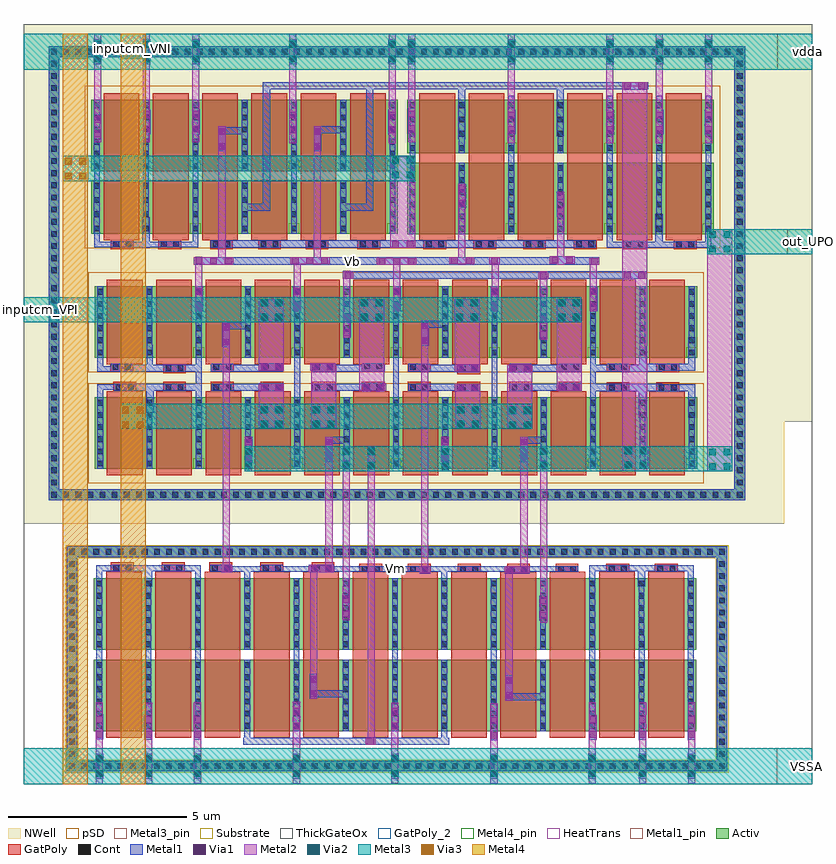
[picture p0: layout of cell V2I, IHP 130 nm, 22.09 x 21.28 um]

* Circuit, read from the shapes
.subckt V2I VSSA Vb Vm imax_VPI inputcm_VNI inputcm_VPI out_UPO vdda
XM1 VSSA VSSA VSSA VSSA sg13_hv_nmos w=2u l=1u m=8
XM2 out_UPO Vm VSSA VSSA sg13_hv_nmos w=2u l=1u m=8
XM3 Vm Vm VSSA VSSA sg13_hv_nmos w=2u l=1u m=8
XM4 vdda vdda vdda vdda sg13_hv_pmos w=1.5u l=1u m=4
XM5 vdda vdda vdda vdda sg13_hv_pmos w=2u l=1u m=4
XM6 Vb Vb Vb vdda sg13_hv_pmos w=2u l=1u m=8
XM7 out_UPO imax_VPI vdda vdda sg13_hv_pmos w=1.5u l=1u m=8
XM8 Vb imax_VPI vdda vdda sg13_hv_pmos w=2u l=1u m=8
XM9 out_UPO inputcm_VNI Vb vdda sg13_hv_pmos w=2u l=1u m=8
XM10 Vm inputcm_VPI Vb vdda sg13_hv_pmos w=2u l=1u m=8
.ends

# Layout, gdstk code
from math import pi, radians
import gdstk
lib = gdstk.Library(unit=1e-6, precision=1e-09)
def R(c, l, rs):  # rectangles x0, y0, x1, y1
    for r in rs: c.add(gdstk.rectangle(r[:2], r[2:], *l))
def A(c, l, x, y, w, h, nx, ny, dx, dy):  # array of equal rectangles
    R(c, l, [(x+i*dx, y+j*dy, x+i*dx+w, y+j*dy+h) for i in range(nx) for j in range(ny)])
def P(c, l, *ps):  # polygons
    for p in ps: c.add(gdstk.Polygon(p, *l))
Activ = (1, 0)
GatPoly = (5, 0)
GatPoly_2 = (5, 2)
Cont = (6, 0)
Metal1 = (8, 0)
Metal1_pin = (8, 2)
Metal2 = (10, 0)
pSD = (14, 0)
Via1 = (19, 0)
Via2 = (29, 0)
Metal3 = (30, 0)
Metal3_pin = (30, 2)
NWell = (31, 0)
Substrate = (40, 0)
ThickGateOx = (44, 0)
Via3 = (49, 0)
Metal4 = (50, 0)
Metal4_pin = (50, 2)
HeatTrans = (51, 0)

pmoshv_10 = lib.new_cell('pmosHV$10')
A(pmoshv_10, Activ, 0, 0, 0.3, 0.3, 3, 1, 1.38, 0)
R(pmoshv_10, Activ, [(0,0,3.06,2)])
R(pmoshv_10, GatPoly, [(0.34,-0.18,1.34,2.18), (1.72,-0.18,2.72,2.18)])
R(pmoshv_10, GatPoly_2, [(0.34,-0.18,1.34,2.18)])
A(pmoshv_10, Cont, 0.07, 0.07, 0.16, 0.16, 3, 6, 1.38, 0.34)
A(pmoshv_10, Metal1, 0.07, 0, 0.16, 2, 3, 1, 1.38, 0)
R(pmoshv_10, Metal1_pin, [(0.07,0,0.23,2), (1.45,0,1.61,2)])
R(pmoshv_10, pSD, [(-0.18,-0.4,3.24,2.4)])
R(pmoshv_10, NWell, [(-0.62,-0.62,3.68,2.62)])
R(pmoshv_10, Substrate, [(2.76,0,3.06,0.3)])
R(pmoshv_10, ThickGateOx, [(-0.62,-0.62,3.68,2.62)])
R(pmoshv_10, HeatTrans, [(0.34,-0.18,1.34,2.18), (1.72,-0.18,2.72,2.18)])
pmoshv_10.add(gdstk.Label('pmosHV', (0.84,1), layer=63, texttype=0))
pmoshv_10.add(gdstk.Label('pmos', (0.84,1), layer=51, texttype=0))
pmoshv_10.add(gdstk.Label('pmos', (2.22,1), layer=51, texttype=0))

pmoshv_11 = lib.new_cell('pmosHV$11')
A(pmoshv_11, Activ, 0, 0, 0.3, 0.3, 3, 1, 1.38, 0)
R(pmoshv_11, Activ, [(0,0,3.06,1.5)])
R(pmoshv_11, GatPoly, [(0.34,-0.18,1.34,1.68), (1.72,-0.18,2.72,1.68)])
R(pmoshv_11, GatPoly_2, [(0.34,-0.18,1.34,1.68)])
A(pmoshv_11, Cont, 0.07, 0.07, 0.16, 0.16, 3, 4, 1.38, 0.4)
A(pmoshv_11, Metal1, 0.07, 0, 0.16, 1.5, 3, 1, 1.38, 0)
R(pmoshv_11, Metal1_pin, [(0.07,0,0.23,1.5), (1.45,0,1.61,1.5)])
R(pmoshv_11, pSD, [(-0.18,-0.4,3.24,1.9)])
R(pmoshv_11, NWell, [(-0.62,-0.62,3.68,2.12)])
R(pmoshv_11, Substrate, [(2.76,0,3.06,0.3)])
R(pmoshv_11, ThickGateOx, [(-0.62,-0.62,3.68,2.12)])
R(pmoshv_11, HeatTrans, [(0.34,-0.18,1.34,1.68), (1.72,-0.18,2.72,1.68)])
pmoshv_11.add(gdstk.Label('pmosHV', (0.84,0.75), layer=63, texttype=0))
pmoshv_11.add(gdstk.Label('pmos', (0.84,0.75), layer=51, texttype=0))
pmoshv_11.add(gdstk.Label('pmos', (2.22,0.75), layer=51, texttype=0))

nmoshv_17 = lib.new_cell('nmosHV$17')
A(nmoshv_17, Activ, 0, 0, 0.3, 0.3, 3, 1, 1.38, 0)
R(nmoshv_17, Activ, [(0,0,3.06,2)])
R(nmoshv_17, GatPoly, [(0.34,-0.18,1.34,2.18), (1.72,-0.18,2.72,2.18)])
R(nmoshv_17, GatPoly_2, [(0.34,-0.18,1.34,2.18)])
A(nmoshv_17, Cont, 0.07, 0.07, 0.16, 0.16, 3, 6, 1.38, 0.34)
A(nmoshv_17, Metal1, 0.07, 0, 0.16, 2, 3, 1, 1.38, 0)
R(nmoshv_17, Metal1_pin, [(0.07,0,0.23,2), (1.45,0,1.61,2)])
R(nmoshv_17, ThickGateOx, [(-0.27,-0.52,3.33,2.52)])
R(nmoshv_17, HeatTrans, [(0.34,-0.18,1.34,2.18), (1.72,-0.18,2.72,2.18)])
nmoshv_17.add(gdstk.Label('nmosHV', (0.84,1), layer=63, texttype=0))
nmoshv_17.add(gdstk.Label('nmosHV', (0.84,1), layer=51, texttype=0))
nmoshv_17.add(gdstk.Label('nmosHV', (2.22,1), layer=51, texttype=0))

via_9 = lib.new_cell('Via$9')
R(via_9, Metal1, [(-0.35,-0.105,0.35,0.105)])
R(via_9, Metal2, [(-0.35,-0.1,0.35,0.1)])
R(via_9, Via1, [(-0.3,-0.095,-0.11,0.095), (0.11,-0.095,0.3,0.095)])

via_8 = lib.new_cell('Via$8')
R(via_8, Metal2, [(-0.35,-0.305,0.35,0.305)])
R(via_8, Via2, [(-0.3,-0.3,-0.11,-0.11), (0.11,-0.3,0.3,-0.11), (-0.3,0.11,-0.11,0.3), (0.11,0.11,0.3,0.3)])
R(via_8, Metal3, [(-0.35,-0.305,0.35,0.305)])

via_11 = lib.new_cell('Via$11')
R(via_11, Metal1, [(-0.555,-0.105,0.555,0.105)])
R(via_11, Metal2, [(-0.555,-0.1,0.555,0.1)])
A(via_11, Via1, -0.505, -0.095, 0.19, 0.19, 3, 1, 0.41, 0)

guard_ring_2 = lib.new_cell('guard_ring$2')
R(guard_ring_2, Activ, [(-9.75,-6.05,-9.45,6.05), (9.45,-6.05,9.75,6.05), (-9.75,6.05,9.75,6.35)])
P(guard_ring_2, Activ, [(-9.75,-6.35),(-9.75,6.05),(-9.45,6.05),(-9.45,-6.05),(9.45,-6.05),(9.45,6.05),(-9.75,6.05),(-9.75,6.35),(9.75,6.35),(9.75,-6.35)])
A(guard_ring_2, Cont, -9.68, -6.28, 0.16, 0.16, 28, 2, 0.34, 12.4)
A(guard_ring_2, Cont, 0, -6.28, 0.16, 0.16, 29, 2, 0.34, 12.4)
A(guard_ring_2, Cont, -9.68, -5.94, 0.16, 0.16, 1, 17, 0, 0.34)
A(guard_ring_2, Cont, 9.52, -5.94, 0.16, 0.16, 1, 17, 0, 0.34)
A(guard_ring_2, Cont, -9.68, 0, 0.16, 0.16, 1, 18, 0, 0.34)
A(guard_ring_2, Cont, 9.52, 0, 0.16, 0.16, 1, 18, 0, 0.34)
R(guard_ring_2, Metal1, [(-9.75,-6.35,9.75,-6.05), (-9.75,-6.05,-9.45,6.05), (9.45,-6.05,9.75,6.05), (-9.75,6.05,9.75,6.35)])
R(guard_ring_2, NWell, [(-10.1,-6.7,10.1,6.7)])

guard_ring = lib.new_cell('guard_ring')
R(guard_ring, Activ, [(-9.25,-2.85,-8.95,2.85), (8.95,-2.85,9.25,2.85), (-9.25,2.85,9.25,3.15)])
P(guard_ring, Activ, [(-9.25,-3.15),(-9.25,2.85),(-8.95,2.85),(-8.95,-2.85),(8.95,-2.85),(8.95,2.85),(-9.25,2.85),(-9.25,3.15),(9.25,3.15),(9.25,-3.15)])
A(guard_ring, Cont, -9.18, -3.08, 0.16, 0.16, 27, 2, 0.34, 6)
A(guard_ring, Cont, 0.18, -3.08, 0.16, 0.16, 27, 2, 0.34, 6)
A(guard_ring, Cont, -9.18, -2.74, 0.16, 0.16, 1, 8, 0, 0.34)
A(guard_ring, Cont, 9.02, -2.74, 0.16, 0.16, 1, 8, 0, 0.34)
A(guard_ring, Cont, -9.18, 0.2, 0.16, 0.16, 1, 8, 0, 0.34)
A(guard_ring, Cont, 9.02, 0.2, 0.16, 0.16, 1, 8, 0, 0.34)
R(guard_ring, Metal1, [(-9.25,-3.15,9.25,-2.85), (-9.25,-2.85,-8.95,2.85), (8.95,-2.85,9.25,2.85), (-9.25,2.85,9.25,3.15)])
R(guard_ring, pSD, [(-9.28,-2.82,-8.92,2.82), (8.92,-2.82,9.28,2.82), (-9.28,2.82,9.28,3.18)])
P(guard_ring, pSD, [(-9.28,-3.18),(-9.28,2.82),(-8.92,2.82),(-8.92,-2.82),(8.92,-2.82),(8.92,2.82),(-9.28,2.82),(-9.28,3.18),(9.28,3.18),(9.28,-3.18)])
R(guard_ring, Substrate, [(-9.28,-2.82,-8.92,2.82), (8.92,-2.82,9.28,2.82), (-9.28,2.82,9.28,3.18)])
P(guard_ring, Substrate, [(-9.28,-3.18),(-9.28,2.82),(-8.92,2.82),(-8.92,-2.82),(8.92,-2.82),(8.92,2.82),(-9.28,2.82),(-9.28,3.18),(9.28,3.18),(9.28,-3.18)])

via_2 = lib.new_cell('Via$2')
R(via_2, Metal1, [(-0.105,-0.35,0.105,0.35)])
R(via_2, Metal2, [(-0.1,-0.35,0.1,0.35)])
R(via_2, Via1, [(-0.095,-0.3,0.095,-0.11), (-0.095,0.11,0.095,0.3)])

via_10 = lib.new_cell('Via$10')
R(via_10, Metal2, [(-0.1,-0.35,0.1,0.35)])
R(via_10, Via2, [(-0.095,-0.3,0.095,-0.11), (-0.095,0.11,0.095,0.3)])
R(via_10, Metal3, [(-0.1,-0.35,0.1,0.35)])

via_4 = lib.new_cell('Via$4')
R(via_4, GatPoly, [(-0.15,-0.32,0.15,0.32)])
R(via_4, Cont, [(-0.08,-0.25,0.08,-0.09), (-0.08,0.09,0.08,0.25)])
R(via_4, Metal1, [(-0.08,-0.3,0.08,0.3)])

via = lib.new_cell('Via')
R(via, Metal1, [(-0.145,-0.105,0.145,0.105)])
R(via, Metal2, [(-0.145,-0.1,0.145,0.1)])
R(via, Via1, [(-0.095,-0.095,0.095,0.095)])

via_12 = lib.new_cell('Via$12')
R(via_12, Metal3, [(-0.35,-0.305,0.35,0.305)])
R(via_12, Via3, [(-0.3,-0.3,-0.11,-0.11), (0.11,-0.3,0.3,-0.11), (-0.3,0.11,-0.11,0.3), (0.11,0.11,0.3,0.3)])
R(via_12, Metal4, [(-0.35,-0.305,0.35,0.305)])

v2i = lib.new_cell('V2I')
R(v2i, Metal1, [(12.955,14.04,13.515,14.24)])
R(v2i, Metal2, [(13.105,13.045,13.305,14.25), (10.35,13.055,10.55,14.235)])
R(v2i, Metal3_pin, [(21.09,-0.5,22.085,0.5), (0,12.42,0.74,13.12), (21.385,14.33,22.085,15.03), (21.105,19.5,22.085,20.5)])
R(v2i, NWell, [(0,6.78,21.3,20.775), (21.3,9.635,22.085,20.775)])
R(v2i, ThickGateOx, [(0,-0.5,22.085,20.775)])
R(v2i, Metal4_pin, [(1.1,19.8,1.8,20.5), (2.715,19.8,3.415,20.5)])
v2i.add(gdstk.FlexPath([(8.94,13.745),(17.455,13.745)], 0.2, ends="flush", simple_path=True, layer=8, datatype=0))  # Metal1
v2i.add(gdstk.FlexPath([(8.95,13.75),(16.945,13.75)], 0.2, ends="flush", simple_path=True, layer=8, datatype=0))  # Metal1
v2i.add(gdstk.FlexPath([(14.955,19.05),(17.485,19.05)], 0.2, ends="flush", simple_path=True, layer=8, datatype=0))  # Metal1
v2i.add(gdstk.FlexPath([(4.815,14.14),(16.09,14.14)], 0.2, ends="flush", simple_path=True, layer=8, datatype=0))  # Metal1
v2i.add(gdstk.FlexPath([(8.025,2.025),(9.1,2.025)], 0.2, ends="flush", simple_path=True, layer=8, datatype=0))  # Metal1
v2i.add(gdstk.FlexPath([(7.57,18.21),(7.57,15.77)], 0.16, ends="flush", simple_path=True, layer=8, datatype=0))  # Metal1
v2i.add(gdstk.FlexPath([(4.815,15.455),(4.815,14.605),(2.055,14.605),(2.055,15.435)], 0.16, ends="flush", simple_path=True, layer=8, datatype=0))  # Metal1
v2i.add(gdstk.FlexPath([(19.17,15.435),(19.17,14.595),(16.41,14.595),(16.41,15.436)], 0.16, ends="flush", simple_path=True, layer=8, datatype=0))  # Metal1
v2i.add(gdstk.FlexPath([(4.815,18.21),(4.815,15.77),(4.815,15.77)], 0.16, ends="flush", simple_path=True, layer=8, datatype=0))  # Metal1
v2i.add(gdstk.FlexPath([(5.24,14.615),(16.02,14.615)], 0.2, ends="flush", simple_path=True, layer=8, datatype=0))  # Metal1
v2i.add(gdstk.FlexPath([(6.11,15.65),(6.8,15.65),(6.8,19.05),(13.35,19.05)], 0.2, ends="flush", simple_path=True, layer=8, datatype=0))  # Metal1
v2i.add(gdstk.FlexPath([(12.27,17.55),(12.27,19.05),(15.025,19.05),(15.025,17.63)], 0.2, ends="flush", simple_path=True, layer=8, datatype=0))  # Metal1
v2i.add(gdstk.FlexPath([(10.33,18.21),(10.33,15.77)], 0.16, ends="flush", simple_path=True, layer=8, datatype=0))  # Metal1
v2i.add(gdstk.FlexPath([(10.885,18.655),(10.885,16.215)], 0.16, ends="flush", simple_path=True, layer=8, datatype=0))  # Metal1
v2i.add(gdstk.FlexPath([(13.65,18.77),(13.65,16.33)], 0.16, ends="flush", simple_path=True, layer=8, datatype=0))  # Metal1
v2i.add(gdstk.FlexPath([(16.41,18.77),(16.41,16.33)], 0.16, ends="flush", simple_path=True, layer=8, datatype=0))  # Metal1
v2i.add(gdstk.FlexPath([(8.12,17.81),(9.03,17.81),(9.03,17.81),(9.03,17.81)], 0.2, ends="flush", simple_path=True, layer=8, datatype=0))  # Metal1
v2i.add(gdstk.FlexPath([(5.445,17.785),(6.27,17.785)], 0.2, ends="flush", simple_path=True, layer=8, datatype=0))  # Metal1
v2i.add(gdstk.FlexPath([(8.87,15.65),(9.695,15.65),(9.695,19.045)], 0.2, ends="flush", simple_path=True, layer=8, datatype=0))  # Metal1
v2i.add(gdstk.FlexPath([(3.425,18.21),(3.425,15.77),(3.425,15.77)], 0.16, ends="flush", simple_path=True, layer=8, datatype=0))  # Metal1
v2i.add(gdstk.FlexPath([(2.06,18.21),(2.06,15.77),(2.06,15.77)], 0.16, ends="flush", simple_path=True, layer=8, datatype=0))  # Metal1
v2i.add(gdstk.FlexPath([(17.795,18.77),(17.795,16.33)], 0.16, ends="flush", simple_path=True, layer=8, datatype=0))  # Metal1
v2i.add(gdstk.FlexPath([(19.175,18.77),(19.175,16.33)], 0.16, ends="flush", simple_path=True, layer=8, datatype=0))  # Metal1
v2i.add(gdstk.FlexPath([(3.43,15.37),(3.43,14.515)], 0.2, ends="flush", simple_path=True, layer=8, datatype=0))  # Metal1
v2i.add(gdstk.FlexPath([(17.79,15.465),(17.79,14.515)], 0.2, ends="flush", simple_path=True, layer=8, datatype=0))  # Metal1
v2i.add(gdstk.FlexPath([(2.12,4.7),(2.12,5.54),(4.88,5.54),(4.88,4.699)], 0.16, ends="flush", simple_path=True, layer=8, datatype=0))  # Metal1
v2i.add(gdstk.FlexPath([(15.92,4.7),(15.92,5.54),(18.68,5.54),(18.68,4.699)], 0.16, ends="flush", simple_path=True, layer=8, datatype=0))  # Metal1
v2i.add(gdstk.FlexPath([(4.88,3.61),(4.88,2.42)], 0.16, ends="extended", simple_path=True, layer=8, datatype=0))  # Metal1
v2i.add(gdstk.FlexPath([(3.5,3.61),(3.5,2.42)], 0.16, ends="extended", simple_path=True, layer=8, datatype=0))  # Metal1
v2i.add(gdstk.FlexPath([(2.12,3.61),(2.12,2.42)], 0.16, ends="extended", simple_path=True, layer=8, datatype=0))  # Metal1
v2i.add(gdstk.FlexPath([(3.5,5.03),(3.5,5.62)], 0.2, ends="flush", simple_path=True, layer=8, datatype=0))  # Metal1
v2i.add(gdstk.FlexPath([(15.92,3.73),(15.92,2.54)], 0.16, ends="flush", simple_path=True, layer=8, datatype=0))  # Metal1
v2i.add(gdstk.FlexPath([(17.305,3.635),(17.305,2.445)], 0.16, ends="flush", simple_path=True, layer=8, datatype=0))  # Metal1
v2i.add(gdstk.FlexPath([(18.68,3.675),(18.68,2.485)], 0.16, ends="flush", simple_path=True, layer=8, datatype=0))  # Metal1
v2i.add(gdstk.FlexPath([(17.3,5.03),(17.3,5.62)], 0.2, ends="flush", simple_path=True, layer=8, datatype=0))  # Metal1
v2i.add(gdstk.FlexPath([(11.78,1.42),(11.78,0.625)], 0.16, ends="flush", simple_path=True, layer=8, datatype=0))  # Metal1
v2i.add(gdstk.FlexPath([(13.585,1.94),(14.62,1.94)], 0.2, ends="flush", simple_path=True, layer=8, datatype=0))  # Metal1
v2i.add(gdstk.FlexPath([(7.64,3.685),(7.64,2.495)], 0.16, ends="flush", simple_path=True, layer=8, datatype=0))  # Metal1
v2i.add(gdstk.FlexPath([(10.4,3.685),(10.4,2.495)], 0.16, ends="flush", simple_path=True, layer=8, datatype=0))  # Metal1
v2i.add(gdstk.FlexPath([(6.26,4.995),(6.26,5.6)], 0.16, ends="flush", simple_path=True, layer=8, datatype=0))  # Metal1
v2i.add(gdstk.FlexPath([(11.78,4.655),(11.78,5.6)], 0.16, ends="flush", simple_path=True, layer=8, datatype=0))  # Metal1
v2i.add(gdstk.FlexPath([(5.225,5.52),(5.735,5.52),(15.535,5.52)], 0.16, ends="flush", simple_path=True, layer=8, datatype=0))  # Metal1
v2i.add(gdstk.FlexPath([(6.155,0.7),(11.92,0.7)], 0.2, ends="flush", simple_path=True, layer=8, datatype=0))  # Metal1
v2i.add(gdstk.FlexPath([(13.16,3.26),(13.16,2.07)], 0.16, ends="flush", simple_path=True, layer=8, datatype=0))  # Metal1
v2i.add(gdstk.FlexPath([(2.145,11.79),(2.145,11.12),(3.535,11.12),(3.535,11.79)], 0.16, ends="flush", simple_path=True, layer=8, datatype=0))  # Metal1
v2i.add(gdstk.FlexPath([(2.145,10.09),(2.145,10.61),(2.745,10.61)], 0.16, ends="flush", simple_path=True, layer=8, datatype=0))  # Metal1
v2i.add(gdstk.FlexPath([(3.54,9.895),(3.54,10.705)], 0.2, ends="flush", simple_path=True, layer=8, datatype=0))  # Metal1
v2i.add(gdstk.FlexPath([(5.245,11.14),(7.255,11.14)], 0.2, ends="flush", simple_path=True, layer=8, datatype=0))  # Metal1
v2i.add(gdstk.FlexPath([(8.1,11.14),(10.11,11.14)], 0.2, ends="flush", simple_path=True, layer=8, datatype=0))  # Metal1
v2i.add(gdstk.FlexPath([(10.775,11.14),(12.765,11.14)], 0.2, ends="flush", simple_path=True, layer=8, datatype=0))  # Metal1
v2i.add(gdstk.FlexPath([(13.61,11.14),(15.62,11.14)], 0.2, ends="flush", simple_path=True, layer=8, datatype=0))  # Metal1
v2i.add(gdstk.FlexPath([(5.59,12.33),(6.365,12.33)], 0.2, ends="flush", simple_path=True, layer=8, datatype=0))  # Metal1
v2i.add(gdstk.FlexPath([(11.14,12.37),(11.885,12.37)], 0.2, ends="flush", simple_path=True, layer=8, datatype=0))  # Metal1
v2i.add(gdstk.FlexPath([(13.61,10.605),(15.62,10.605)], 0.2, ends="flush", simple_path=True, layer=8, datatype=0))  # Metal1
v2i.add(gdstk.FlexPath([(10.775,10.605),(12.785,10.605)], 0.2, ends="flush", simple_path=True, layer=8, datatype=0))  # Metal1
v2i.add(gdstk.FlexPath([(8.1,10.605),(10.11,10.605)], 0.2, ends="flush", simple_path=True, layer=8, datatype=0))  # Metal1
v2i.add(gdstk.FlexPath([(5.265,10.605),(7.275,10.605)], 0.2, ends="flush", simple_path=True, layer=8, datatype=0))  # Metal1
v2i.add(gdstk.FlexPath([(8.455,9.12),(9.125,9.12)], 0.2, ends="flush", simple_path=True, layer=8, datatype=0))  # Metal1
v2i.add(gdstk.FlexPath([(13.915,9.12),(14.645,9.12)], 0.2, ends="flush", simple_path=True, layer=8, datatype=0))  # Metal1
v2i.add(gdstk.FlexPath([(4.905,12.31),(4.905,9.57)], 0.16, ends="flush", simple_path=True, layer=8, datatype=0))  # Metal1
v2i.add(gdstk.FlexPath([(7.665,12.31),(7.665,9.57)], 0.16, ends="flush", simple_path=True, layer=8, datatype=0))  # Metal1
v2i.add(gdstk.FlexPath([(10.425,12.31),(10.425,9.57)], 0.16, ends="flush", simple_path=True, layer=8, datatype=0))  # Metal1
v2i.add(gdstk.FlexPath([(13.185,12.31),(13.185,9.575)], 0.16, ends="flush", simple_path=True, layer=8, datatype=0))  # Metal1
v2i.add(gdstk.FlexPath([(15.945,12.31),(15.945,9.57)], 0.16, ends="flush", simple_path=True, layer=8, datatype=0))  # Metal1
v2i.add(gdstk.FlexPath([(2.535,10.605),(4.545,10.605)], 0.2, ends="flush", simple_path=True, layer=8, datatype=0))  # Metal1
v2i.add(gdstk.FlexPath([(2.98,11.14),(4.99,11.14)], 0.2, ends="flush", simple_path=True, layer=8, datatype=0))  # Metal1
v2i.add(gdstk.FlexPath([(15.86,11.14),(17.87,11.14)], 0.2, ends="flush", simple_path=True, layer=8, datatype=0))  # Metal1
v2i.add(gdstk.FlexPath([(15.865,10.6),(17.875,10.6)], 0.2, ends="flush", simple_path=True, layer=8, datatype=0))  # Metal1
v2i.add(gdstk.FlexPath([(18.705,9.75),(18.705,10.595),(17.325,10.595),(17.325,9.75),(17.325,9.75)], 0.2, ends="flush", simple_path=True, layer=8, datatype=0))  # Metal1
v2i.add(gdstk.FlexPath([(18.705,12),(18.705,11.17),(17.335,11.17),(17.335,11.755)], 0.2, ends="flush", simple_path=True, layer=8, datatype=0))  # Metal1
v2i.add(gdstk.FlexPath([(4.395,10.605),(4.985,10.605)], 0.2, ends="flush", simple_path=True, layer=8, datatype=0))  # Metal1
v2i.add(gdstk.FlexPath([(6.26,2.07),(6.26,0.6)], 0.16, ends="flush", simple_path=True, layer=8, datatype=0))  # Metal1
v2i.add(gdstk.FlexPath([(2.12,1.785),(2.12,-0.5)], 0.2, ends="flush", simple_path=True, layer=10, datatype=0))  # Metal2
v2i.add(gdstk.FlexPath([(8.225,14.05),(8.225,17.815)], 0.2, ends="flush", simple_path=True, layer=10, datatype=0))  # Metal2
v2i.add(gdstk.FlexPath([(17.105,19.15),(17.105,8.26)], 0.7, ends="flush", simple_path=True, layer=10, datatype=0))  # Metal2
v2i.add(gdstk.FlexPath([(13.895,11.235),(13.895,9.45),(13.895,9.45)], 0.7, ends="flush", simple_path=True, layer=10, datatype=0))  # Metal2
v2i.add(gdstk.FlexPath([(9.745,10.495),(9.745,12.92)], 0.7, ends="flush", simple_path=True, layer=10, datatype=0))  # Metal2
v2i.add(gdstk.FlexPath([(3.5,1.78),(3.5,-0.495)], 0.2, ends="flush", simple_path=True, layer=10, datatype=0))  # Metal2
v2i.add(gdstk.FlexPath([(9.03,8.91),(9.03,4.09)], 0.2, ends="flush", simple_path=True, layer=10, datatype=0))  # Metal2
v2i.add(gdstk.FlexPath([(10.62,14.545),(10.62,16.97)], 0.7, ends="flush", simple_path=True, layer=10, datatype=0))  # Metal2
v2i.add(gdstk.FlexPath([(9.05,12.165),(9.05,13.87)], 0.2, ends="flush", simple_path=True, layer=10, datatype=0))  # Metal2
v2i.add(gdstk.FlexPath([(6.94,11.07),(6.94,12.935)], 0.7, ends="flush", simple_path=True, layer=10, datatype=0))  # Metal2
v2i.add(gdstk.FlexPath([(12.42,11.07),(12.42,12.935)], 0.7, ends="flush", simple_path=True, layer=10, datatype=0))  # Metal2
v2i.add(gdstk.FlexPath([(15.27,10.515),(15.27,12.94)], 0.7, ends="flush", simple_path=True, layer=10, datatype=0))  # Metal2
v2i.add(gdstk.FlexPath([(6.94,10.71),(6.94,9.65)], 0.7, ends="flush", simple_path=True, layer=10, datatype=0))  # Metal2
v2i.add(gdstk.FlexPath([(12.44,10.71),(12.44,9.65)], 0.7, ends="flush", simple_path=True, layer=10, datatype=0))  # Metal2
v2i.add(gdstk.FlexPath([(8.4,11.26),(8.4,9.63)], 0.7, ends="flush", simple_path=True, layer=10, datatype=0))  # Metal2
v2i.add(gdstk.FlexPath([(5.555,14.04),(5.555,17.835)], 0.2, ends="flush", simple_path=True, layer=10, datatype=0))  # Metal2
v2i.add(gdstk.FlexPath([(4.87,1.79),(4.87,-0.495)], 0.2, ends="flush", simple_path=True, layer=10, datatype=0))  # Metal2
v2i.add(gdstk.FlexPath([(15.92,1.785),(15.92,-0.495)], 0.2, ends="flush", simple_path=True, layer=10, datatype=0))  # Metal2
v2i.add(gdstk.FlexPath([(17.33,1.785),(17.33,-0.495)], 0.2, ends="flush", simple_path=True, layer=10, datatype=0))  # Metal2
v2i.add(gdstk.FlexPath([(18.705,1.795),(18.705,-0.495)], 0.2, ends="flush", simple_path=True, layer=10, datatype=0))  # Metal2
v2i.add(gdstk.FlexPath([(7.64,1.805),(7.64,-0.495)], 0.2, ends="flush", simple_path=True, layer=10, datatype=0))  # Metal2
v2i.add(gdstk.FlexPath([(10.395,1.775),(10.395,-0.485)], 0.2, ends="flush", simple_path=True, layer=10, datatype=0))  # Metal2
v2i.add(gdstk.FlexPath([(13.17,1.76),(13.17,-0.495)], 0.2, ends="flush", simple_path=True, layer=10, datatype=0))  # Metal2
v2i.add(gdstk.FlexPath([(8.125,5.635),(8.125,1.88)], 0.2, ends="flush", simple_path=True, layer=10, datatype=0))  # Metal2
v2i.add(gdstk.FlexPath([(13.59,5.6),(13.59,1.835)], 0.2, ends="flush", simple_path=True, layer=10, datatype=0))  # Metal2
v2i.add(gdstk.FlexPath([(8.55,9.22),(8.55,5.435)], 0.2, ends="flush", simple_path=True, layer=10, datatype=0))  # Metal2
v2i.add(gdstk.FlexPath([(14.01,9.22),(14.01,5.4)], 0.2, ends="flush", simple_path=True, layer=10, datatype=0))  # Metal2
v2i.add(gdstk.FlexPath([(5.67,12.38),(5.67,5.43)], 0.2, ends="flush", simple_path=True, layer=10, datatype=0))  # Metal2
v2i.add(gdstk.FlexPath([(11.235,12.47),(11.235,5.395)], 0.2, ends="flush", simple_path=True, layer=10, datatype=0))  # Metal2
v2i.add(gdstk.FlexPath([(14.565,8.89),(14.565,4.015)], 0.2, ends="flush", simple_path=True, layer=10, datatype=0))  # Metal2
v2i.add(gdstk.FlexPath([(9.73,8.96),(9.73,0.595)], 0.2, ends="flush", simple_path=True, layer=10, datatype=0))  # Metal2
v2i.add(gdstk.FlexPath([(14.555,12.145),(14.555,13.85)], 0.2, ends="flush", simple_path=True, layer=10, datatype=0))  # Metal2
v2i.add(gdstk.FlexPath([(4.905,13.005),(4.905,14.265)], 0.2, ends="flush", simple_path=True, layer=10, datatype=0))  # Metal2
v2i.add(gdstk.FlexPath([(7.66,13),(7.66,14.25)], 0.2, ends="flush", simple_path=True, layer=10, datatype=0))  # Metal2
v2i.add(gdstk.FlexPath([(15.95,14.23),(15.95,13.015)], 0.2, ends="flush", simple_path=True, layer=10, datatype=0))  # Metal2
v2i.add(gdstk.FlexPath([(12.27,15.93),(12.27,14.135)], 0.2, ends="flush", simple_path=True, layer=10, datatype=0))  # Metal2
v2i.add(gdstk.FlexPath([(15.035,15.83),(15.035,14.035)], 0.2, ends="flush", simple_path=True, layer=10, datatype=0))  # Metal2
v2i.add(gdstk.FlexPath([(2.075,20.5),(2.075,17.46)], 0.2, ends="flush", simple_path=True, layer=10, datatype=0))  # Metal2
v2i.add(gdstk.FlexPath([(3.44,20.5),(3.44,17.46)], 0.2, ends="flush", simple_path=True, layer=10, datatype=0))  # Metal2
v2i.add(gdstk.FlexPath([(4.825,20.5),(4.825,17.46)], 0.2, ends="flush", simple_path=True, layer=10, datatype=0))  # Metal2
v2i.add(gdstk.FlexPath([(7.54,20.5),(7.54,17.44)], 0.2, ends="flush", simple_path=True, layer=10, datatype=0))  # Metal2
v2i.add(gdstk.FlexPath([(10.32,20.5),(10.32,17.42)], 0.2, ends="flush", simple_path=True, layer=10, datatype=0))  # Metal2
v2i.add(gdstk.FlexPath([(10.865,20.5),(10.865,17.47)], 0.2, ends="flush", simple_path=True, layer=10, datatype=0))  # Metal2
v2i.add(gdstk.FlexPath([(13.655,20.5),(13.655,17.44)], 0.2, ends="flush", simple_path=True, layer=10, datatype=0))  # Metal2
v2i.add(gdstk.FlexPath([(16.415,20.5),(16.415,17.44)], 0.2, ends="flush", simple_path=True, layer=10, datatype=0))  # Metal2
v2i.add(gdstk.FlexPath([(17.8,20.5),(17.8,17.44)], 0.2, ends="flush", simple_path=True, layer=10, datatype=0))  # Metal2
v2i.add(gdstk.FlexPath([(19.18,20.5),(19.18,17.44)], 0.2, ends="flush", simple_path=True, layer=10, datatype=0))  # Metal2
v2i.add(gdstk.FlexPath([(6.295,9.22),(6.295,8.305)], 0.2, ends="flush", simple_path=True, layer=10, datatype=0))  # Metal2
v2i.add(gdstk.FlexPath([(11.805,9.205),(11.805,8.25)], 0.2, ends="flush", simple_path=True, layer=10, datatype=0))  # Metal2
v2i.add(gdstk.FlexPath([(19.49,8.26),(19.49,15.03)], 0.7, ends="flush", simple_path=True, layer=10, datatype=0))  # Metal2
v2i.add(gdstk.FlexPath([(0,20),(22.085,20)], 1, ends="flush", simple_path=True, layer=30, datatype=0))  # Metal3
v2i.add(gdstk.FlexPath([(0,0),(22.085,0)], 1, ends="flush", simple_path=True, layer=30, datatype=0))  # Metal3
v2i.add(gdstk.FlexPath([(22.085,14.68),(19.14,14.68)], 0.7, ends="flush", simple_path=True, layer=30, datatype=0))  # Metal3
v2i.add(gdstk.FlexPath([(0,12.77),(15.615,12.77)], 0.7, ends="flush", simple_path=True, layer=30, datatype=0))  # Metal3
v2i.add(gdstk.FlexPath([(1.1,16.73),(10.97,16.73)], 0.7, ends="flush", simple_path=True, layer=30, datatype=0))  # Metal3
v2i.add(gdstk.FlexPath([(2.715,9.8),(14.245,9.8)], 0.7, ends="flush", simple_path=True, layer=30, datatype=0))  # Metal3
v2i.add(gdstk.FlexPath([(6.205,8.61),(19.84,8.61)], 0.7, ends="flush", simple_path=True, layer=30, datatype=0))  # Metal3
v2i.add(gdstk.FlexPath([(1.45,20.5),(1.45,-0.5)], 0.7, ends="flush", simple_path=True, layer=50, datatype=0))  # Metal4
v2i.add(gdstk.FlexPath([(3.065,20.5),(3.065,-0.5)], 0.7, ends="flush", simple_path=True, layer=50, datatype=0))  # Metal4
v2i.add(gdstk.Reference(pmoshv_10, (10.275,8.32)))
v2i.add(gdstk.Reference(pmoshv_10, (10.275,11.43)))
v2i.add(gdstk.Reference(pmoshv_11, (10.74,17.15)))
v2i.add(gdstk.Reference(pmoshv_10, (10.74,14.895)))
v2i.add(gdstk.Reference(pmoshv_10, (13.035,8.32)))
v2i.add(gdstk.Reference(pmoshv_10, (4.755,8.32)))
v2i.add(gdstk.Reference(pmoshv_10, (7.515,8.32)))
v2i.add(gdstk.Reference(nmoshv_17, (10.25,3.26)))
v2i.add(gdstk.Reference(nmoshv_17, (10.25,0.98)))
v2i.add(gdstk.Reference(pmoshv_10, (1.995,8.32)))
v2i.add(gdstk.Reference(pmoshv_10, (15.795,8.32)))
v2i.add(gdstk.Reference(pmoshv_11, (7.42,14.9)))
v2i.add(gdstk.Reference(pmoshv_10, (7.42,16.65)))
v2i.add(gdstk.Reference(pmoshv_10, (7.515,11.43)))
v2i.add(gdstk.Reference(via_9, (10.62,14.61), rotation=pi))
v2i.add(gdstk.Reference(via_8, (10.62,16.755)))
v2i.add(gdstk.Reference(nmoshv_17, (7.49,0.98)))
v2i.add(gdstk.Reference(nmoshv_17, (7.49,3.26)))
v2i.add(gdstk.Reference(via_11, (10.445,14.135)))
v2i.add(gdstk.Reference(guard_ring_2, (10.45,13.8)))
v2i.add(gdstk.Reference(via_8, (8.4,9.775)))
v2i.add(gdstk.Reference(via_8, (6.94,9.775)))
v2i.add(gdstk.Reference(via_8, (12.445,9.775)))
v2i.add(gdstk.Reference(guard_ring, (10.455,3)))
v2i.add(gdstk.Reference(via_2, (10.45,13.08)))
v2i.add(gdstk.Reference(via_2, (10.395,0)))
v2i.add(gdstk.Reference(via_2, (10.395,1.33)))
v2i.add(gdstk.Reference(via_10, (10.395,0)))
v2i.add(gdstk.Reference(via_2, (13.655,18.02)))
v2i.add(gdstk.Reference(via_4, (13.91,11.18), rotation=3*pi/2))
v2i.add(gdstk.Reference(via_10, (17.8,20)))
v2i.add(gdstk.Reference(pmoshv_10, (13.5,14.895)))
v2i.add(gdstk.Reference(via_4, (16.645,11.18), rotation=3*pi/2))
v2i.add(gdstk.Reference(via_4, (18.035,11.18), rotation=3*pi/2))
v2i.add(gdstk.Reference(via_4, (14.305,14.615), rotation=3*pi/2))
v2i.add(gdstk.Reference(via_2, (16.415,18.02)))
v2i.add(gdstk.Reference(via_10, (19.18,20)))
v2i.add(gdstk.Reference(pmoshv_10, (13.035,11.43)))
v2i.add(gdstk.Reference(via_4, (15.72,14.615), rotation=3*pi/2))
v2i.add(gdstk.Reference(via_8, (15.27,12.77)))
v2i.add(gdstk.Reference(via, (14.55,13.73)))
v2i.add(gdstk.Reference(via_9, (13.895,11.135)))
v2i.add(gdstk.Reference(via_2, (15.035,15.735)))
v2i.add(gdstk.Reference(via_9, (15.08,14.17)))
v2i.add(gdstk.Reference(via_9, (12.265,14.145)))
v2i.add(gdstk.Reference(via_2, (12.27,15.96)))
v2i.add(gdstk.Reference(via_4, (13.91,10.605), rotation=3*pi/2))
v2i.add(gdstk.Reference(via_4, (15.3,10.605), rotation=3*pi/2))
v2i.add(gdstk.Reference(via_4, (12.465,11.115), rotation=3*pi/2))
v2i.add(gdstk.Reference(via_4, (12.465,10.605), rotation=3*pi/2))
v2i.add(gdstk.Reference(via_4, (16.64,10.6), rotation=3*pi/2))
v2i.add(gdstk.Reference(via_9, (15.27,10.615)))
v2i.add(gdstk.Reference(via_9, (12.425,10.6)))
v2i.add(gdstk.Reference(via_4, (18.03,10.6), rotation=3*pi/2))
v2i.add(gdstk.Reference(via_8, (12.41,12.77)))
v2i.add(gdstk.Reference(via_9, (12.425,11.135)))
v2i.add(gdstk.Reference(via_4, (11.515,14.615), rotation=3*pi/2))
v2i.add(gdstk.Reference(via_4, (11.075,11.18), rotation=3*pi/2))
v2i.add(gdstk.Reference(via_2, (10.865,18.05)))
v2i.add(gdstk.Reference(via_2, (15.95,13.08)))
v2i.add(gdstk.Reference(via_9, (17.105,19.045), rotation=pi))
v2i.add(gdstk.Reference(via_4, (11.075,10.605), rotation=3*pi/2))
v2i.add(gdstk.Reference(via_2, (11.235,12.12)))
v2i.add(gdstk.Reference(via_9, (13.19,13.08), rotation=3*pi/2))
v2i.add(gdstk.Reference(via_9, (14.56,12.285), rotation=3*pi/2))
v2i.add(gdstk.Reference(via_4, (15.3,11.18), rotation=3*pi/2))
v2i.add(gdstk.Reference(via, (13.185,14.145)))
v2i.add(gdstk.Reference(via_10, (10.865,20)))
v2i.add(gdstk.Reference(via, (15.975,14.135)))
v2i.add(gdstk.Reference(pmoshv_11, (16.26,17.15)))
v2i.add(gdstk.Reference(pmoshv_10, (16.26,14.895)))
v2i.add(gdstk.Reference(via_4, (12.915,14.615), rotation=3*pi/2))
v2i.add(gdstk.Reference(pmoshv_10, (15.795,11.43)))
v2i.add(gdstk.Reference(pmoshv_11, (13.5,17.15)))
v2i.add(gdstk.Reference(via_2, (17.8,18.02)))
v2i.add(gdstk.Reference(via_2, (19.18,18.02)))
v2i.add(gdstk.Reference(via_2, (10.865,20)))
v2i.add(gdstk.Reference(via_2, (13.655,20)))
v2i.add(gdstk.Reference(via_2, (16.415,20)))
v2i.add(gdstk.Reference(via_2, (17.8,20)))
v2i.add(gdstk.Reference(via_2, (19.18,20)))
v2i.add(gdstk.Reference(via_8, (19.49,14.68)))
v2i.add(gdstk.Reference(via_4, (17.105,14.615), rotation=3*pi/2))
v2i.add(gdstk.Reference(via_10, (16.415,20)))
v2i.add(gdstk.Reference(via_10, (13.655,20)))
v2i.add(gdstk.Reference(via_4, (18.52,14.615), rotation=3*pi/2))
v2i.add(gdstk.Reference(via_9, (17.105,13.745)))
v2i.add(gdstk.Reference(via_4, (5.565,11.18), rotation=3*pi/2))
v2i.add(gdstk.Reference(via_4, (8.4,11.18), rotation=3*pi/2))
v2i.add(gdstk.Reference(via_4, (9.79,11.195), rotation=3*pi/2))
v2i.add(gdstk.Reference(via_2, (4.905,13.08)))
v2i.add(gdstk.Reference(via_4, (5.54,14.615), rotation=3*pi/2))
v2i.add(gdstk.Reference(via_4, (6.885,14.615), rotation=3*pi/2))
v2i.add(gdstk.Reference(via_9, (6.94,11.175)))
v2i.add(gdstk.Reference(via_4, (6.955,11.18), rotation=3*pi/2))
v2i.add(gdstk.Reference(via_2, (10.32,18.02)))
v2i.add(gdstk.Reference(pmoshv_11, (4.66,14.9)))
v2i.add(gdstk.Reference(via_8, (6.94,12.77)))
v2i.add(gdstk.Reference(via_8, (9.745,12.77)))
v2i.add(gdstk.Reference(via_2, (5.555,17.56)))
v2i.add(gdstk.Reference(via_9, (7.81,14.145)))
v2i.add(gdstk.Reference(via_9, (8.375,11.175)))
v2i.add(gdstk.Reference(via_2, (7.66,13.08)))
v2i.add(gdstk.Reference(via_2, (2.075,20)))
v2i.add(gdstk.Reference(via_4, (6.955,10.605), rotation=3*pi/2))
v2i.add(gdstk.Reference(via_2, (3.44,20)))
v2i.add(gdstk.Reference(via_2, (9.05,12.34)))
v2i.add(gdstk.Reference(via_2, (8.225,17.56)))
v2i.add(gdstk.Reference(via_2, (4.825,18.04)))
v2i.add(gdstk.Reference(pmoshv_10, (4.66,16.65)))
v2i.add(gdstk.Reference(pmoshv_10, (1.9,16.65)))
v2i.add(gdstk.Reference(via, (9.085,13.745)))
v2i.add(gdstk.Reference(via_9, (6.94,10.61)))
v2i.add(gdstk.Reference(via_4, (8.4,10.605), rotation=3*pi/2))
v2i.add(gdstk.Reference(via_4, (9.79,10.605), rotation=3*pi/2))
v2i.add(gdstk.Reference(via_9, (9.8,10.615)))
v2i.add(gdstk.Reference(pmoshv_11, (1.9,14.9)))
v2i.add(gdstk.Reference(via_4, (2.835,10.605), rotation=3*pi/2))
v2i.add(gdstk.Reference(via_4, (4.225,10.605), rotation=3*pi/2))
v2i.add(gdstk.Reference(via_2, (5.67,12.08)))
v2i.add(gdstk.Reference(via_10, (4.825,20)))
v2i.add(gdstk.Reference(via_10, (7.54,20)))
v2i.add(gdstk.Reference(pmoshv_10, (1.995,11.43)))
v2i.add(gdstk.Reference(via_2, (3.44,18.04)))
v2i.add(gdstk.Reference(via_10, (3.44,20)))
v2i.add(gdstk.Reference(via_10, (2.075,20)))
v2i.add(gdstk.Reference(via_4, (5.565,10.605), rotation=3*pi/2))
v2i.add(gdstk.Reference(via_12, (1.455,16.725)))
v2i.add(gdstk.Reference(pmoshv_10, (4.755,11.43)))
v2i.add(gdstk.Reference(via_10, (10.32,20)))
v2i.add(gdstk.Reference(via_2, (4.825,20)))
v2i.add(gdstk.Reference(via_2, (7.54,20)))
v2i.add(gdstk.Reference(via_2, (10.32,20)))
v2i.add(gdstk.Reference(via_9, (5.115,14.14)))
v2i.add(gdstk.Reference(via_9, (8.22,14.145)))
v2i.add(gdstk.Reference(via_4, (2.765,14.615), rotation=3*pi/2))
v2i.add(gdstk.Reference(via_4, (4.095,14.615), rotation=3*pi/2))
v2i.add(gdstk.Reference(via_4, (8.215,14.615), rotation=3*pi/2))
v2i.add(gdstk.Reference(via_4, (9.665,14.615), rotation=3*pi/2))
v2i.add(gdstk.Reference(via_9, (5.525,14.14)))
v2i.add(gdstk.Reference(via_2, (7.54,18.02)))
v2i.add(gdstk.Reference(via_4, (2.745,11.18), rotation=3*pi/2))
v2i.add(gdstk.Reference(via_2, (2.075,17.905)))
v2i.add(gdstk.Reference(via_4, (4.225,11.145), rotation=3*pi/2))
v2i.add(gdstk.Reference(via_10, (9.03,8.61)))
v2i.add(gdstk.Reference(via_10, (4.87,0)))
v2i.add(gdstk.Reference(via_2, (4.87,1.095)))
v2i.add(gdstk.Reference(via_2, (3.49,1.095)))
v2i.add(gdstk.Reference(nmoshv_17, (4.73,3.26)))
v2i.add(gdstk.Reference(via_4, (8.385,5.555), rotation=3*pi/2))
v2i.add(gdstk.Reference(via_4, (4.19,5.555), rotation=3*pi/2))
v2i.add(gdstk.Reference(via_2, (8.55,8.87)))
v2i.add(gdstk.Reference(via_4, (2.765,5.555), rotation=3*pi/2))
v2i.add(gdstk.Reference(via_2, (2.12,0)))
v2i.add(gdstk.Reference(via, (9.72,0.7)))
v2i.add(gdstk.Reference(via_12, (3.06,9.755)))
v2i.add(gdstk.Reference(via_10, (9.73,8.61)))
v2i.add(gdstk.Reference(via_9, (2.12,1.1), rotation=3*pi/2))
v2i.add(gdstk.Reference(via_10, (2.12,0)))
v2i.add(gdstk.Reference(via_2, (3.5,0)))
v2i.add(gdstk.Reference(via_2, (4.87,0)))
v2i.add(gdstk.Reference(via_2, (7.64,0)))
v2i.add(gdstk.Reference(via, (5.7,5.535)))
v2i.add(gdstk.Reference(via_4, (6.95,5.555), rotation=3*pi/2))
v2i.add(gdstk.Reference(via_2, (9.02,4.465)))
v2i.add(gdstk.Reference(via_9, (8.335,5.53)))
v2i.add(gdstk.Reference(via_10, (7.64,0)))
v2i.add(gdstk.Reference(via_2, (8.12,2.23)))
v2i.add(gdstk.Reference(nmoshv_17, (1.97,3.26)))
v2i.add(gdstk.Reference(nmoshv_17, (1.97,0.98)))
v2i.add(gdstk.Reference(via_4, (5.525,5.555), rotation=3*pi/2))
v2i.add(gdstk.Reference(via_2, (6.295,8.87)))
v2i.add(gdstk.Reference(via_10, (6.295,8.605)))
v2i.add(gdstk.Reference(via_2, (7.635,1.33)))
v2i.add(gdstk.Reference(via_10, (3.5,0)))
v2i.add(gdstk.Reference(nmoshv_17, (4.73,0.98)))
v2i.add(gdstk.Reference(via_4, (9.715,5.52), rotation=3*pi/2))
v2i.add(gdstk.Reference(via_10, (14.565,8.61)))
v2i.add(gdstk.Reference(via_9, (13.815,5.495)))
v2i.add(gdstk.Reference(via_2, (14.01,8.87)))
v2i.add(gdstk.Reference(via_4, (13.855,5.52), rotation=3*pi/2))
v2i.add(gdstk.Reference(via, (11.24,5.495)))
v2i.add(gdstk.Reference(nmoshv_17, (13.01,3.26)))
v2i.add(gdstk.Reference(via_8, (17.135,8.625)))
v2i.add(gdstk.Reference(nmoshv_17, (13.01,0.98)))
v2i.add(gdstk.Reference(via_2, (17.33,1.095)))
v2i.add(gdstk.Reference(via_2, (18.705,1.095)))
v2i.add(gdstk.Reference(via_10, (18.705,0)))
v2i.add(gdstk.Reference(via_2, (13.17,0)))
v2i.add(gdstk.Reference(via_2, (15.92,0)))
v2i.add(gdstk.Reference(via_2, (17.33,0)))
v2i.add(gdstk.Reference(via_2, (18.705,0)))
v2i.add(gdstk.Reference(via_4, (12.475,5.52), rotation=3*pi/2))
v2i.add(gdstk.Reference(via_10, (13.17,0)))
v2i.add(gdstk.Reference(via_2, (15.945,1.095)))
v2i.add(gdstk.Reference(via_10, (15.92,0)))
v2i.add(gdstk.Reference(via_4, (11.075,5.52), rotation=3*pi/2))
v2i.add(gdstk.Reference(via_2, (14.545,4.425)))
v2i.add(gdstk.Reference(nmoshv_17, (15.77,3.26)))
v2i.add(gdstk.Reference(nmoshv_17, (15.77,0.98)))
v2i.add(gdstk.Reference(via_4, (16.635,5.52), rotation=3*pi/2))
v2i.add(gdstk.Reference(via_4, (17.995,5.52), rotation=3*pi/2))
v2i.add(gdstk.Reference(via_2, (11.8,8.87)))
v2i.add(gdstk.Reference(via_10, (11.805,8.6)))
v2i.add(gdstk.Reference(via_8, (19.49,8.59)))
v2i.add(gdstk.Reference(via_4, (15.215,5.52), rotation=3*pi/2))
v2i.add(gdstk.Reference(via_10, (17.33,0)))
v2i.add(gdstk.Reference(via_8, (13.895,9.755)))
v2i.add(gdstk.Reference(via_2, (13.585,2.19)))
v2i.add(gdstk.Reference(via_2, (13.17,1.07)))
v2i.add(gdstk.Label('vdda', (21.955,20.01), layer=30, texttype=25))
v2i.add(gdstk.Label('out_UPO', (22.005,14.68), layer=30, texttype=25))
v2i.add(gdstk.Label('VSSA', (21.92,-0.015), layer=30, texttype=25))
v2i.add(gdstk.Label('inputcm_VPI', (0.035,12.777), layer=30, texttype=25))
v2i.add(gdstk.Label('inputcm_VNI', (3.06,20.09), layer=50, texttype=25))
v2i.add(gdstk.Label('imax_VPI', (1.445,20.145), layer=50, texttype=25))
v2i.add(gdstk.Label('Vm', (10.41,5.52), layer=8, texttype=25))
v2i.add(gdstk.Label('Vb', (9.22,14.14), layer=8, texttype=25))

lib.write_gds('V2I.gds')
